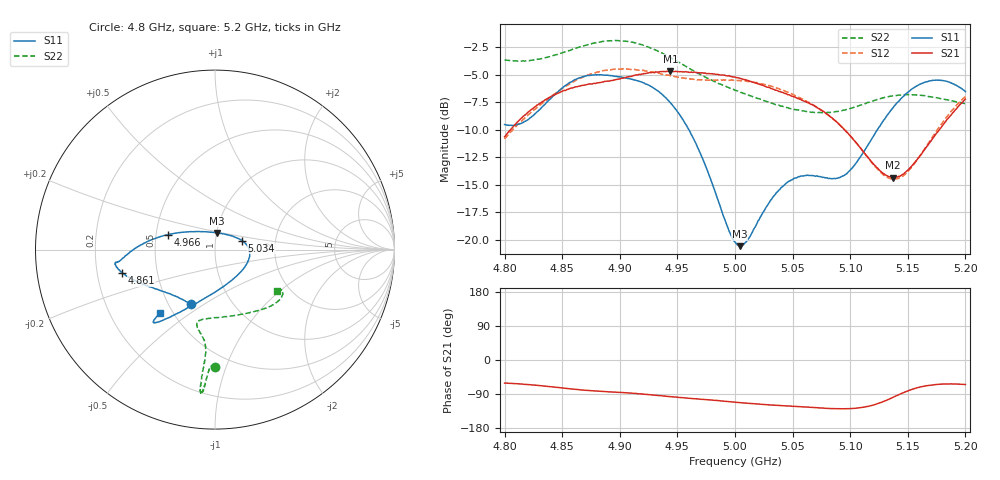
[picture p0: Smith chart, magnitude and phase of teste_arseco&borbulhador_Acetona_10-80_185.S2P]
! Network Analyzer HP8722D
! Hewlett-Packard
! Data name: Linha & Wilkinson
! Saver's name: Rodrigo Anjos
! Comments: Teste da utilização de aquisição
! continua pelo VNA HP8722D
! Time and date: 17/4/2025 15:54
!  Frequency  S11  S21  S12  S22
# HZ  S  MA R 50
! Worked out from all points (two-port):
!   401 points, 4.8 GHz to 5.2 GHz, reference 50 ohm
!   highest |S21| = -4.69 dB at 4.944 GHz (marker M1); lowest = -14.3 dB at 5.137 GHz (marker M2)
!   |S21| within 3 dB of the highest: 4.83 GHz to 5.066 GHz (236.5 MHz wide, 4.78 % of centre); 5.195576 GHz to end of sweep
!   lowest |S11| = -20.6 dB at 5.004 GHz (marker M3), VSWR 1.21, Z = 50.1 + j9.4 ohm
!   |S11| at or under -10 dB: 4.96 GHz to 5.124 GHz (163.6 MHz wide, 3.25 % of centre)
!   |S22| runs from -8.5 to -1.9 dB; largest |S21 - S12| = 0.87
!   S11 on the Smith chart (normalised r, x): 4.8 GHz: 0.64, -0.44; 4.861 GHz: 0.31, -0.11; 4.966 GHz: 0.58, +0.11; 5.034 GHz: 1.35, +0.14; 5.2 GHz: 0.42, -0.39
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4.8e9  0.3338 -114.0  0.2939 -61.0  0.287 -175.2  0.6561 -90.2
4.819e9  0.3483 -133.9  0.3743 -64.4  0.3627 -173.9  0.6505 -91.8
4.861e9  0.5333 -165.9  0.494 -77.3  0.527 -177.2  0.7378 -94.2
4.867e9  0.5486 -168.4  0.5023 -79.1  0.5451 -178.2  0.7556 -94.3
4.9e9  0.55 -172.8  0.5379 -85.5  0.5956 175.3  0.8014 -95.6
4.934e9  0.4707 -178.7  0.5788 -93.9  0.5718 171.5  0.7148 -96.0
4.944e9  0.4189 176.9  0.5828 -96.7  0.5558 171.7  0.6728 -95.7
4.966e9  0.2743 162.1  0.5752 -102.2  0.536 173.5  0.5793 -95.1
5e9  0.09772 98.6  0.5486 -111.4  0.5316 175.9  0.4776 -99.2
5.004e9  0.09357 84.3  0.5416 -112.4  0.5286 175.9  0.4705 -100.2
5.012e9  0.1017 57.8  0.5275 -114.5  0.5232 175.5  0.4536 -101.8
5.034e9  0.1586 18.4  0.4814 -119.5  0.494 174.6  0.414 -103.5
5.05e9  0.188 2.5  0.4484 -122.3  0.4573 174.0  0.3934 -99.3
5.067e9  0.1959 -15.8  0.4112 -125.1  0.4135 173.5  0.3795 -90.3
5.086e9  0.1901 -46.0  0.3503 -128.4  0.351 173.6  0.3807 -76.0
5.097e9  0.1995 -68.4  0.3082 -128.6  0.309 174.7  0.3911 -66.9
5.134e9  0.3789 -117.3  0.1935 -103.0  0.1903 -155.8  0.4478 -43.1
5.137e9  0.3968 -119.1  0.1917 -98.8  0.1884 -151.1  0.4505 -41.7
5.15e9  0.4673 -124.9  0.2071 -81.6  0.2041 -131.1  0.4562 -36.8
5.17e9  0.5278 -129.5  0.2802 -66.2  0.2858 -112.3  0.4466 -32.2
5.184e9  0.5236 -130.7  0.3517 -63.2  0.3629 -107.4  0.4328 -31.2
5.2e9  0.4711 -131.0  0.4354 -64.7  0.4474 -106.7  0.4149 -33.5
